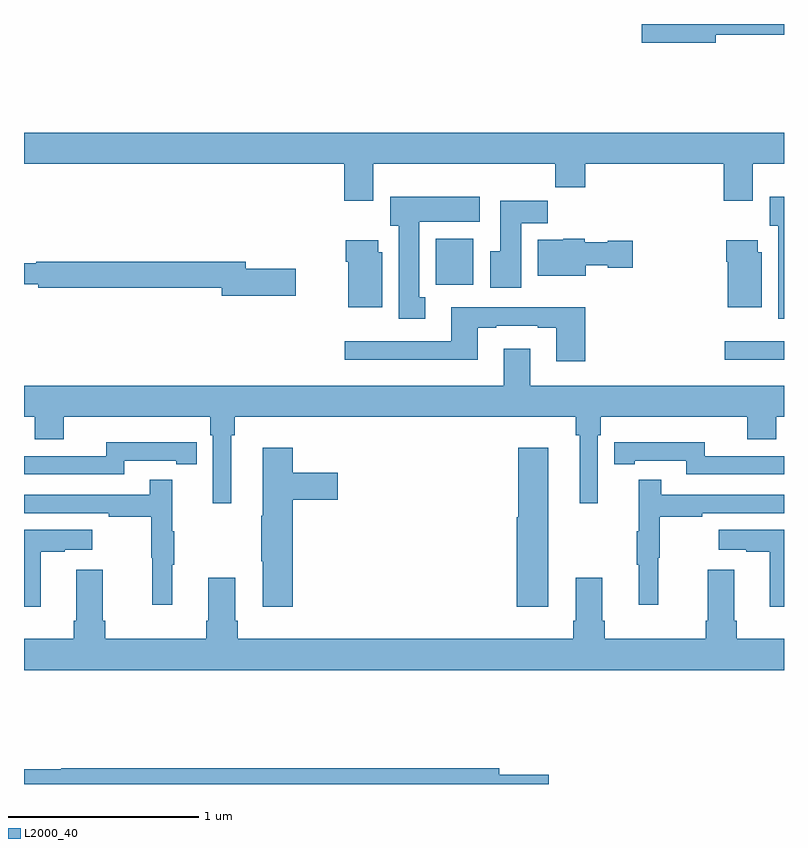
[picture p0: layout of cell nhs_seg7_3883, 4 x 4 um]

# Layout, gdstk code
import gdstk
lib = gdstk.Library(unit=1e-6, precision=1e-09)
def R(c, l, rs):  # rectangles x0, y0, x1, y1
    for r in rs: c.add(gdstk.rectangle(r[:2], r[2:], *l))
def P(c, l, *ps):  # polygons
    for p in ps: c.add(gdstk.Polygon(p, *l))
L2000_40 = (2000, 40)

nhs_seg7_3883 = lib.new_cell('nhs_seg7_3883')
R(nhs_seg7_3883, L2000_40, [(360.687,1018.232,361,1018.329), (359.168,1018.628,359.365,1018.87)])
P(nhs_seg7_3883, L2000_40, [(360.64,1019.944),(361,1019.944),(361,1020),(360.252,1020),(360.252,1019.902),(360.64,1019.902)],
  [(358.837,1019.264),(359.797,1019.264),(359.797,1019.14),(359.954,1019.14),(359.954,1019.264),(360.683,1019.264),(360.683,1019.07),(360.835,1019.07),(360.835,1019.264),(361,1019.264),(361,1019.428),(357,1019.428),(357,1019.264),(358.685,1019.264),(358.685,1019.07),(358.837,1019.07)],
  [(361,1019.092),(360.926,1019.092),(360.926,1018.938),(360.971,1018.938),(360.971,1018.449),(361,1018.449)],
  [(359.113,1018.562),(359.08,1018.562),(359.08,1018.958),(359.398,1018.958),(359.398,1019.092),(358.928,1019.092),(358.928,1018.938),(358.973,1018.938),(358.973,1018.449),(359.113,1018.449)],
  [(359.617,1018.952),(359.756,1018.952),(359.756,1019.071),(359.507,1019.071),(359.507,1018.804),(359.453,1018.804),(359.453,1018.611),(359.617,1018.611)],
  [(359.956,1018.73),(360.072,1018.73),(360.072,1018.718),(360.205,1018.718),(360.205,1018.86),(360.072,1018.86),(360.072,1018.852),(359.952,1018.852),(359.952,1018.87),(359.838,1018.87),(359.838,1018.864),(359.705,1018.864),(359.705,1018.676),(359.956,1018.676)],
  [(360.883,1018.8),(360.862,1018.8),(360.862,1018.861),(360.697,1018.861),(360.697,1018.748),(360.704,1018.748),(360.704,1018.508),(360.883,1018.508)],
  [(358.885,1018.8),(358.864,1018.8),(358.864,1018.861),(358.694,1018.861),(358.694,1018.748),(358.706,1018.748),(358.706,1018.508),(358.885,1018.508)],
  [(358.429,1018.712),(358.168,1018.712),(358.168,1018.748),(357.064,1018.748),(357.064,1018.741),(357,1018.741),(357,1018.631),(357.076,1018.631),(357.076,1018.612),(358.04,1018.612),(358.04,1018.57),(358.429,1018.57)],
  [(359.954,1018.51),(359.713,1018.51),(359.713,1018.509),(359.249,1018.509),(359.249,1018.329),(358.689,1018.329),(358.689,1018.232),(359.389,1018.232),(359.389,1018.401),(359.485,1018.401),(359.485,1018.413),(359.705,1018.413),(359.705,1018.401),(359.801,1018.401),(359.801,1018.224),(359.954,1018.224)],
  [(359.525,1018.291),(359.525,1018.096),(357,1018.096),(357,1017.932),(357.056,1017.932),(357.056,1017.815),(357.208,1017.815),(357.208,1017.932),(357.98,1017.932),(357.98,1017.836),(357.993,1017.836),(357.993,1017.477),(358.09,1017.477),(358.09,1017.836),(358.109,1017.836),(358.109,1017.932),(359.905,1017.932),(359.905,1017.836),(359.924,1017.836),(359.924,1017.477),(360.021,1017.477),(360.021,1017.836),(360.035,1017.836),(360.035,1017.932),(360.806,1017.932),(360.806,1017.815),(360.959,1017.815),(360.959,1017.932),(361,1017.932),(361,1018.096),(359.665,1018.096),(359.665,1018.291)],
  [(357.528,1017.702),(357.8,1017.702),(357.8,1017.682),(357.908,1017.682),(357.908,1017.798),(357.8,1017.798),(357.8,1017.799),(357.432,1017.799),(357.432,1017.726),(357,1017.726),(357,1017.63),(357.528,1017.63)],
  [(361,1017.726),(360.582,1017.726),(360.582,1017.799),(360.214,1017.799),(360.214,1017.798),(360.106,1017.798),(360.106,1017.682),(360.214,1017.682),(360.214,1017.702),(360.486,1017.702),(360.486,1017.63),(361,1017.63)],
  [(358.415,1017.497),(358.651,1017.497),(358.651,1017.639),(358.415,1017.639),(358.415,1017.769),(358.256,1017.769),(358.256,1017.413),(358.249,1017.413),(358.249,1017.172),(358.256,1017.172),(358.256,1016.934),(358.415,1016.934)],
  [(359.758,1017.769),(359.6,1017.769),(359.6,1017.405),(359.594,1017.405),(359.594,1016.934),(359.758,1016.934)],
  [(360.338,1017.192),(360.346,1017.192),(360.346,1017.406),(360.569,1017.406),(360.569,1017.426),(361,1017.426),(361,1017.522),(360.353,1017.522),(360.353,1017.601),(360.236,1017.601),(360.236,1017.329),(360.225,1017.329),(360.225,1017.155),(360.236,1017.155),(360.236,1016.943),(360.338,1016.943)],
  [(357.779,1017.155),(357.79,1017.155),(357.79,1017.329),(357.779,1017.329),(357.779,1017.601),(357.661,1017.601),(357.661,1017.522),(357,1017.522),(357,1017.426),(357.445,1017.426),(357.445,1017.406),(357.669,1017.406),(357.669,1017.192),(357.676,1017.192),(357.676,1016.943),(357.779,1016.943)],
  [(357.088,1017.223),(357.215,1017.223),(357.215,1017.233),(357.358,1017.233),(357.358,1017.337),(357,1017.337),(357,1016.934),(357.088,1016.934)],
  [(361,1017.337),(360.657,1017.337),(360.657,1017.233),(360.8,1017.233),(360.8,1017.223),(360.926,1017.223),(360.926,1016.934),(361,1016.934)],
  [(361,1016.764),(360.752,1016.764),(360.752,1016.86),(360.739,1016.86),(360.739,1017.127),(360.599,1017.127),(360.599,1016.86),(360.587,1016.86),(360.587,1016.764),(360.056,1016.764),(360.056,1016.86),(360.043,1016.86),(360.043,1017.085),(359.903,1017.085),(359.903,1016.86),(359.891,1016.86),(359.891,1016.764),(358.124,1016.764),(358.124,1016.86),(358.111,1016.86),(358.111,1017.085),(357.971,1017.085),(357.971,1016.86),(357.959,1016.86),(357.959,1016.764),(357.428,1016.764),(357.428,1016.86),(357.415,1016.86),(357.415,1017.127),(357.275,1017.127),(357.275,1016.86),(357.263,1016.86),(357.263,1016.764),(357,1016.764),(357,1016.6),(361,1016.6)],
  [(359.761,1016.048),(359.5,1016.048),(359.5,1016.084),(357.196,1016.084),(357.196,1016.077),(357,1016.077),(357,1016),(359.761,1016)])

lib.write_gds('nhs_seg7_3883.gds')
